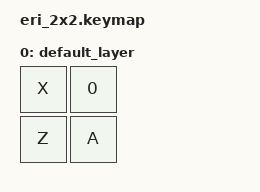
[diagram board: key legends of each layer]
#include <behaviors.dtsi>
#include <dt-bindings/zmk/keys.h>
#include <dt-bindings/zmk/bt.h>

/ {
    keymap {
        compatible = "zmk,keymap";

        default_layer {
            bindings = <
                &kp X &kp N0
                &kp Z &kp A
            >;
        };
    };
};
